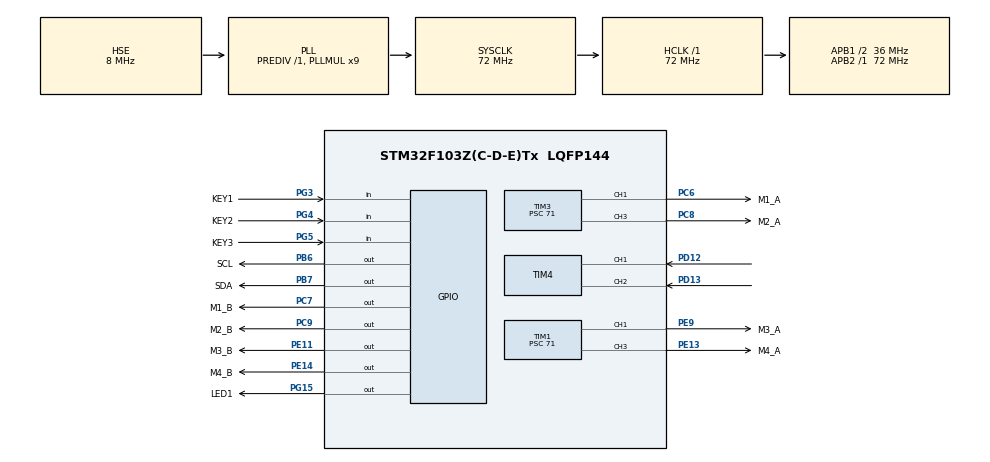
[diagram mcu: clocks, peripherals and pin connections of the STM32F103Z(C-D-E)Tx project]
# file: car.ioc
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Mcu.Family=STM32F1
Mcu.Name=STM32F103Z(C-D-E)Tx
Mcu.Package=LQFP144
NVIC.PriorityGroup=NVIC_PRIORITYGROUP_4
OSC_IN.Mode=HSE-External-Oscillator
OSC_IN.Signal=RCC_OSC_IN
OSC_OUT.Mode=HSE-External-Oscillator
OSC_OUT.Signal=RCC_OSC_OUT
PA13.Mode=Serial_Wire
PA13.Signal=SYS_JTMS-SWDIO
PA14.Mode=Serial_Wire
PA14.Signal=SYS_JTCK-SWCLK
PB6.GPIO_Label=SCL
PB6.GPIO_Speed=GPIO_SPEED_FREQ_HIGH
PB6.Signal=GPIO_Output
PB7.GPIO_Label=SDA
PB7.GPIO_Speed=GPIO_SPEED_FREQ_HIGH
PB7.Signal=GPIO_Output
PC14-OSC32_IN.Mode=LSE-External-Oscillator
PC14-OSC32_IN.Signal=RCC_OSC32_IN
PC15-OSC32_OUT.Mode=LSE-External-Oscillator
PC15-OSC32_OUT.Signal=RCC_OSC32_OUT
PC6.GPIO_Label=M1_A
PC6.GPIO_Speed=GPIO_SPEED_FREQ_HIGH
PC6.Signal=S_TIM3_CH1
PC7.GPIO_Label=M1_B
PC7.GPIO_Speed=GPIO_SPEED_FREQ_HIGH
PC7.PinState=GPIO_PIN_RESET
PC7.Signal=GPIO_Output
PC8.GPIO_Label=M2_A
PC8.GPIO_Speed=GPIO_SPEED_FREQ_HIGH
PC8.Signal=S_TIM3_CH3
PC9.GPIO_Label=M2_B
PC9.GPIO_Speed=GPIO_SPEED_FREQ_HIGH
PC9.PinState=GPIO_PIN_RESET
PC9.Signal=GPIO_Output
PD12.Signal=S_TIM4_CH1
PD13.Signal=S_TIM4_CH2
PE11.GPIO_Label=M3_B
PE11.GPIO_Speed=GPIO_SPEED_FREQ_HIGH
PE11.Signal=GPIO_Output
PE13.GPIO_Label=M4_A
PE13.GPIO_Speed=GPIO_SPEED_FREQ_HIGH
PE13.Signal=S_TIM1_CH3
PE14.GPIO_Label=M4_B
PE14.GPIO_Speed=GPIO_SPEED_FREQ_HIGH
PE14.Signal=GPIO_Output
PE9.GPIO_Label=M3_A
PE9.GPIO_Speed=GPIO_SPEED_FREQ_HIGH
PE9.Signal=S_TIM1_CH1
PG15.GPIO_Label=LED1
PG15.GPIO_Speed=GPIO_SPEED_FREQ_HIGH
PG15.PinState=GPIO_PIN_SET
PG15.Signal=GPIO_Output
PG3.GPIO_Label=KEY1
PG3.Signal=GPIO_Input
PG4.GPIO_Label=KEY2
PG4.Signal=GPIO_Input
PG5.GPIO_Label=KEY3
PG5.Signal=GPIO_Input
ProjectManager.HeapSize=0x200
ProjectManager.StackSize=0x400
ProjectManager.TargetToolchain=CMake
RCC.AHBFreq_Value=72000000
RCC.APB1CLKDivider=RCC_HCLK_DIV2
RCC.APB1Freq_Value=36000000
RCC.APB1TimFreq_Value=72000000
RCC.APB2Freq_Value=72000000
RCC.APB2TimFreq_Value=72000000
RCC.HCLKFreq_Value=72000000
RCC.PLLMUL=RCC_PLL_MUL9
RCC.PLLSourceVirtual=RCC_PLLSOURCE_HSE
RCC.SYSCLKFreq_VALUE=72000000
RCC.SYSCLKSource=RCC_SYSCLKSOURCE_PLLCLK
RCC.USBFreq_Value=72000000
SH.S_TIM1_CH1.0=TIM1_CH1,PWM Generation1 CH1
SH.S_TIM1_CH3.0=TIM1_CH3,PWM Generation3 CH3
SH.S_TIM3_CH1.0=TIM3_CH1,PWM Generation1 CH1
SH.S_TIM3_CH3.0=TIM3_CH3,PWM Generation3 CH3
SH.S_TIM4_CH1.0=TIM4_CH1,Encoder_Interface
SH.S_TIM4_CH2.0=TIM4_CH2,Encoder_Interface
TIM1.Channel-PWM\ Generation1\ CH1=TIM_CHANNEL_1
TIM1.Channel-PWM\ Generation3\ CH3=TIM_CHANNEL_3
TIM1.Period=499
TIM1.Prescaler=71
TIM3.AutoReloadPreload=TIM_AUTORELOAD_PRELOAD_ENABLE
TIM3.Channel-PWM\ Generation1\ CH1=TIM_CHANNEL_1
TIM3.Channel-PWM\ Generation3\ CH3=TIM_CHANNEL_3
TIM3.Period=499
TIM3.Prescaler=71
VP_TIM1_VS_ClockSourceINT.Mode=Internal
VP_TIM3_VS_ClockSourceINT.Mode=Internal
board=custom

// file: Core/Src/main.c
/* USER CODE BEGIN Header */
/**
  ******************************************************************************
  * @file           : main.c
  * @brief          : Main program body
  ******************************************************************************
  * @attention
  *
  * Copyright (c) 2025 STMicroelectronics.
  * All rights reserved.
  *
  * This software is licensed under terms that can be found in the LICENSE file
  * in the root directory of this software component.
  * If no LICENSE file comes with this software, it is provided AS-IS.
  *
  ******************************************************************************
  */
/* USER CODE END Header */
#include "main.h"
#include "tim.h"
#include "gpio.h"

/* USER CODE BEGIN Includes */
#include "key.h"
#include "OLED.h"
/* USER CODE END Includes */

/* USER CODE BEGIN PV */
uint16_t value = 0;
uint8_t Key_Value;
uint32_t M1_Speed = 0;
/* USER CODE END PV */

void SystemClock_Config(void);

int main(void)
{

  /* MCU Configuration--------------------------------------------------------*/

  /* Reset of all peripherals, Initializes the Flash interface and the Systick. */
  HAL_Init();

  /* Configure the system clock */
  SystemClock_Config();

  /* Initialize all configured peripherals */
  MX_GPIO_Init();
  MX_TIM3_Init();
  MX_TIM1_Init();
  MX_TIM4_Init();
  /* USER CODE BEGIN 2 */
  HAL_TIM_PWM_Start(&htim3,TIM_CHANNEL_1);
  HAL_TIM_PWM_Start(&htim3,TIM_CHANNEL_3);
  HAL_TIM_PWM_Start(&htim1,TIM_CHANNEL_1);
  HAL_TIM_PWM_Start(&htim1,TIM_CHANNEL_3);

  HAL_TIM_Encoder_Start(&htim4,TIM_CHANNEL_1);
  HAL_TIM_Encoder_Start(&htim4,TIM_CHANNEL_2);
  OLED_Init();
  OLED_Printf(0,0,OLED_8X16,"key:");
  /* USER CODE END 2 */

  /* Infinite loop */
  /* USER CODE BEGIN WHILE */
  while (1)
  {
    M1_Speed = __HAL_TIM_GET_COUNTER(&htim4);
    Key_Value = Scan_Key();
    OLED_ShowNum(40,0,value,4,OLED_8X16);
    OLED_ShowNum(0,16,M1_Speed,5,OLED_8X16);
    OLED_Update();
    HAL_GPIO_WritePin(M1_B_GPIO_Port, M1_B_Pin, GPIO_PIN_SET);
    HAL_GPIO_WritePin(M2_B_GPIO_Port, M2_B_Pin, GPIO_PIN_SET);

    HAL_GPIO_WritePin(M3_B_GPIO_Port, M3_B_Pin, GPIO_PIN_RESET);
    HAL_GPIO_WritePin(M4_B_GPIO_Port, M4_B_Pin, GPIO_PIN_RESET);
    if (Key_Value == 1)
    {
      value += 100;
    }
    if (Key_Value == 2)
    {
      value -= 100;
    }
    if (Key_Value == 3)
    {
      value = 0;
    }

    __HAL_TIM_SetCompare(&htim3,TIM_CHANNEL_1,value);//M1_A
    __HAL_TIM_SetCompare(&htim3,TIM_CHANNEL_3,value);
    __HAL_TIM_SetCompare(&htim1,TIM_CHANNEL_1,value);
    __HAL_TIM_SetCompare(&htim1,TIM_CHANNEL_3,value);
  }
    /* USER CODE END WHILE */

}

void SystemClock_Config(void)
{
  RCC_OscInitTypeDef RCC_OscInitStruct = {0};
  RCC_ClkInitTypeDef RCC_ClkInitStruct = {0};

  /** Initializes the RCC Oscillators according to the specified parameters
  * in the RCC_OscInitTypeDef structure.
  */
  RCC_OscInitStruct.OscillatorType = RCC_OSCILLATORTYPE_HSE;
  RCC_OscInitStruct.HSEState = RCC_HSE_ON;
  RCC_OscInitStruct.HSEPredivValue = RCC_HSE_PREDIV_DIV1;
  RCC_OscInitStruct.HSIState = RCC_HSI_ON;
  RCC_OscInitStruct.PLL.PLLState = RCC_PLL_ON;
  RCC_OscInitStruct.PLL.PLLSource = RCC_PLLSOURCE_HSE;
  RCC_OscInitStruct.PLL.PLLMUL = RCC_PLL_MUL9;
  if (HAL_RCC_OscConfig(&RCC_OscInitStruct) != HAL_OK)
  {
    Error_Handler();
  }

  /** Initializes the CPU, AHB and APB buses clocks
  */
  RCC_ClkInitStruct.ClockType = RCC_CLOCKTYPE_HCLK|RCC_CLOCKTYPE_SYSCLK
                              |RCC_CLOCKTYPE_PCLK1|RCC_CLOCKTYPE_PCLK2;
  RCC_ClkInitStruct.SYSCLKSource = RCC_SYSCLKSOURCE_PLLCLK;
  RCC_ClkInitStruct.AHBCLKDivider = RCC_SYSCLK_DIV1;
  RCC_ClkInitStruct.APB1CLKDivider = RCC_HCLK_DIV2;
  RCC_ClkInitStruct.APB2CLKDivider = RCC_HCLK_DIV1;

  if (HAL_RCC_ClockConfig(&RCC_ClkInitStruct, FLASH_LATENCY_2) != HAL_OK)
  {
    Error_Handler();
  }
}

void Error_Handler(void)
{
  __disable_irq();
  while (1)
  {
  }
}
